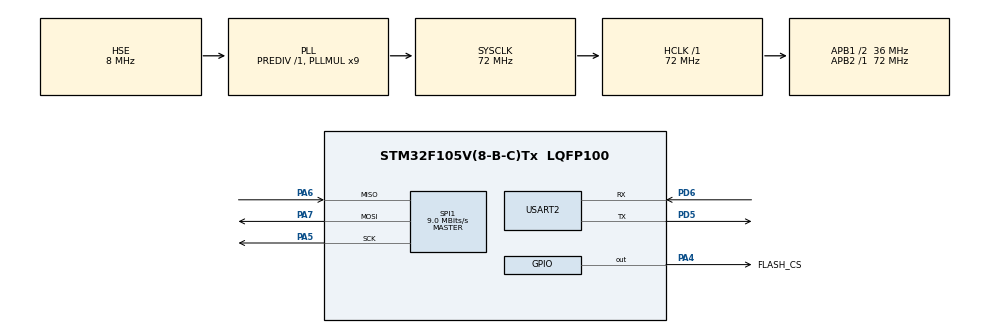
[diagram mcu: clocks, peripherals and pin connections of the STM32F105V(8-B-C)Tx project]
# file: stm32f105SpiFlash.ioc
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Mcu.Family=STM32F1
Mcu.Name=STM32F105V(8-B-C)Tx
Mcu.Package=LQFP100
NVIC.PriorityGroup=NVIC_PRIORITYGROUP_4
OSC_IN.Mode=HSE-External-Oscillator
OSC_IN.Signal=RCC_OSC_IN
OSC_OUT.Mode=HSE-External-Oscillator
OSC_OUT.Signal=RCC_OSC_OUT
PA13.Mode=Serial_Wire
PA13.Signal=SYS_JTMS-SWDIO
PA14.Mode=Serial_Wire
PA14.Signal=SYS_JTCK-SWCLK
PA4.GPIO_Label=FLASH_CS
PA4.Signal=GPIO_Output
PA5.Mode=Full_Duplex_Master
PA5.Signal=SPI1_SCK
PA6.Mode=Full_Duplex_Master
PA6.Signal=SPI1_MISO
PA7.Mode=Full_Duplex_Master
PA7.Signal=SPI1_MOSI
PC14-OSC32_IN.Mode=LSE-External-Oscillator
PC14-OSC32_IN.Signal=RCC_OSC32_IN
PC15-OSC32_OUT.Mode=LSE-External-Oscillator
PC15-OSC32_OUT.Signal=RCC_OSC32_OUT
PD5.Mode=Asynchronous
PD5.Signal=USART2_TX
PD6.Mode=Asynchronous
PD6.Signal=USART2_RX
ProjectManager.HeapSize=0x200
ProjectManager.StackSize=0x400
ProjectManager.TargetToolchain=STM32CubeIDE
RCC.AHBFreq_Value=72000000
RCC.APB1CLKDivider=RCC_HCLK_DIV2
RCC.APB1Freq_Value=36000000
RCC.APB1TimFreq_Value=72000000
RCC.APB2Freq_Value=72000000
RCC.APB2TimFreq_Value=72000000
RCC.HCLKFreq_Value=72000000
RCC.PLLMUL=RCC_PLL_MUL9
RCC.PLLSourceVirtual=RCC_PLLSOURCE_HSE
RCC.SYSCLKFreq_VALUE=72000000
RCC.SYSCLKSource=RCC_SYSCLKSOURCE_PLLCLK
RCC.USBFreq_Value=48000000
SPI1.BaudRatePrescaler=SPI_BAUDRATEPRESCALER_8
SPI1.CalculateBaudRate=9.0 MBits/s
SPI1.Direction=SPI_DIRECTION_2LINES
SPI1.Mode=SPI_MODE_MASTER
SPI1.VirtualType=VM_MASTER
USART2.VirtualMode=VM_ASYNC
board=custom

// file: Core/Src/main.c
/* USER CODE BEGIN Header */
/**
  ******************************************************************************
  * @file           : main.c
  * @brief          : Main program body
  ******************************************************************************
  * @attention
  *
  * Copyright (c) 2023 STMicroelectronics.
  * All rights reserved.
  *
  * This software is licensed under terms that can be found in the LICENSE file
  * in the root directory of this software component.
  * If no LICENSE file comes with this software, it is provided AS-IS.
  *
  ******************************************************************************
  */
/* USER CODE END Header */
#include "main.h"

/* USER CODE BEGIN Includes */
#include "w25qxx.h"
#include "string.h"
#include <stdio.h>
#include <stdarg.h>
/* USER CODE END Includes */

SPI_HandleTypeDef hspi1;

UART_HandleTypeDef huart2;

/* USER CODE BEGIN PV */
uint8_t buffer1[600] = "CiMIoIWuoAYQobqL54SKxQEYAyAAKAAyDAgAEAAYACAAKBowABIhCO/dlY3A/////wEVvBwkQh0RE+RBJQAAAAAtZmbGQDAAIhcwMCwwMCwwMCwwMCwwMCwwMCwwMCwwMCoXNDYsMDIsRkYsRkYsMDAsMDAsMDAsNjgyFzAwLDAwLEYwLDAwLDFELDAwLEIwLDY4OhcwNCw0MSwzMSwwQSwxRixBQSxBQSxBQUIXMDMsRDcsMzUsN0YsM0YsRUYsMDAsMDBaFzAwLDAwLDdELDAwLDAwLDNGLDIwLEY32gEGMC42LjEy5QEAAAAA6QEAAAAAAAAAAPEBundpPJW0sUCFAgAAAACKAgCSAiMaIQ17H/wu6jwiwBVkZlCPZAxVwB2ZkZxvEQ3APyAAKAAwAA==\r\n";
uint8_t buffer2[4100]= {0};
uint8_t buffer3[4100] = {0};
uint8_t buffer4[4100]= {0};
uint8_t buffer5[4100] = {0};
uint8_t buffer6[4100]= {0};
uint8_t buffer7[4100]= {0};
/*
typedef struct{
	uint32_t dataCount;
	uint32_t writtenDataByte;
	uint32_t writeOffset;
	uint32_t readData;
	//uint8_t readOffset;
	//uint32_t pageCount;
	uint16_t LastDataSize;
	uint32_t bufferCount;
	uint32_t bufferCountStore;
	uint32_t sectorNumber;
	//uint8_t pageBuffer[256];
}flashSpi_t;*/
extern flashSpi_t spistruct;
/* USER CODE END PV */

void SystemClock_Config(void);
static void MX_GPIO_Init(void);
static void MX_SPI1_Init(void);
static void MX_USART2_UART_Init(void);
/* USER CODE BEGIN PFP */
void printmsg(char *format,...);
/* USER CODE END PFP */

int main(void)
{

  /* MCU Configuration--------------------------------------------------------*/

  /* Reset of all peripherals, Initializes the Flash interface and the Systick. */
  HAL_Init();

  /* Configure the system clock */
  SystemClock_Config();

  /* Initialize all configured peripherals */
  MX_GPIO_Init();
  MX_SPI1_Init();
  MX_USART2_UART_Init();
  /* USER CODE BEGIN 2 */

  W25qxx_Init();
  //W25qxx_EraseSector(0);
  //W25qxx_EraseSector(1);
  //W25qxx_EraseSector(2);
  //W25qxx_EraseSector(3);
  //W25qxx_EraseSector(4);
  //W25qxx_EraseSector(5);
  //W25qxx_EraseSector(6);
  //spistruct.dataCount = 410;
  //spistruct.readData = 0;
  //spistruct.readOffset = 0;
  spistruct.writeOffset = 0;
  spistruct.sectorNumberforWrite = 0;
  spistruct.writtenDataByte = 0;
  spistruct.readDataByte = 0;
  spistruct.readOffset = 0;
  spistruct.sectorNumberforRead = 0;
  spistruct.allDataRead = 0;
  //spistruct.bufferCount = 0;
  //spistruct.pageCount = spistruct.dataSize / 256;
  //spistruct.endPageDataSize = spistruct.dataSize % 256;
//for (int i = 0; i<40000;i++){
	/*
	W25qxx_WriteSector(buffer1,spistruct.sectorNumber,spistruct.writeOffset,spistruct.dataCount);
	spistruct.writeOffset = spistruct.writeOffset + spistruct.dataCount;
	if(spistruct.writeOffset >= 4096){
		spistruct.sectorNumber++;
		spistruct.bufferCountTemp = spistruct.dataCount;
		spistruct.dataCount = ((spistruct.writeOffset)-4096);
		spistruct.writeOffset = 0;
		uint8_t temproryBuffer[spistruct.dataCount];
		memcpy(temproryBuffer,&buffer1[spistruct.bufferCountTemp-spistruct.dataCount],spistruct.dataCount*sizeof(uint8_t));
		W25qxx_WriteSector(temproryBuffer,spistruct.sectorNumber,spistruct.writeOffset,spistruct.dataCount);
		spistruct.writeOffset = spistruct.writeOffset + spistruct.dataCount;
		spistruct.dataCount = spistruct.bufferCountTemp ; // temporary
	}

	spistruct.LastDataSize = spistruct.dataCount ;
	spistruct.writtenDataByte = spistruct.dataCount + spistruct.writtenDataByte;
	*/
//	W25qxx_Write(buffer1, 410);
//}

W25qxx_ReadSector(buffer2, 0, 0, 4096);
W25qxx_ReadSector(buffer3, 1, 0, 4096);
W25qxx_ReadSector(buffer4, 2, 0, 4096);
W25qxx_ReadSector(buffer5, 3, 0, 4096);
W25qxx_ReadSector(buffer6, 4, 0, 4096);
W25qxx_ReadSector(buffer7, 5, 0, 4096);

for (uint32_t i = 0;i<60000;i++){
	/*
	uint8_t buffer[1024],*ret = 0;
	uint32_t findWord = 0;
	uint16_t sendBufferOffset = 0;
	W25qxx_ReadSector(buffer, spistruct.sectorNumberforRead, spistruct.readOffset, 1024);
	ret = strstr(buffer,"\r\n");
	if(ret == 0 && 4096-spistruct.readOffset > 1024){
		printmsg("%d--> data yok \r\n",i,spistruct.sendBuffer);
		spistruct.allDataRead = 1;
		spistruct.sectorNumberforRead = 0;
		spistruct.readOffset = 0;
		spistruct.sectorNumberforWrite = 0;
		spistruct.writeOffset = 0;
		break;
	}
	if(ret == 0){
		memcpy(&spistruct.sendBuffer[sendBufferOffset],&buffer,(4096-spistruct.readOffset));
		sendBufferOffset = 4096-spistruct.readOffset;
		spistruct.sectorNumberforRead++;
		spistruct.readOffset = 0;
		W25qxx_ReadSector(buffer, spistruct.sectorNumberforRead, spistruct.readOffset, 1024);
		ret = strstr(buffer,"\r\n");
		findWord = ret - buffer + 2;
		memcpy(&spistruct.sendBuffer[sendBufferOffset],&buffer,findWord*sizeof(uint8_t));
		spistruct.readOffset = findWord + spistruct.readOffset;

	}else{
		findWord = ret - buffer + 2;
		memcpy(spistruct.sendBuffer,&buffer,findWord*sizeof(uint8_t));
		spistruct.readOffset = findWord + spistruct.readOffset;
	}
	printmsg("%d-->%s\r\n",i,spistruct.sendBuffer);
	memset(spistruct.sendBuffer,0,sizeof(spistruct.sendBuffer));
	memset(buffer , 0 , sizeof(buffer));*/
	W25qxx_Read(i);

}

W25qxx_ReadSector(buffer2, 0, 0, 4096);
W25qxx_ReadSector(buffer3, 1, 0, 4096);
W25qxx_ReadSector(buffer4, 2, 0, 4096);
W25qxx_ReadSector(buffer5, 3, 0, 4096);
W25qxx_ReadSector(buffer6, 4, 0, 4096);
W25qxx_ReadSector(buffer7, 5, 0, 4096);
  /* USER CODE END 2 */

  /* Infinite loop */
  while (1)
  {

  }
}

void SystemClock_Config(void)
{
  RCC_OscInitTypeDef RCC_OscInitStruct = {0};
  RCC_ClkInitTypeDef RCC_ClkInitStruct = {0};

  /** Initializes the RCC Oscillators according to the specified parameters
  * in the RCC_OscInitTypeDef structure.
  */
  RCC_OscInitStruct.OscillatorType = RCC_OSCILLATORTYPE_HSE;
  RCC_OscInitStruct.HSEState = RCC_HSE_ON;
  RCC_OscInitStruct.HSEPredivValue = RCC_HSE_PREDIV_DIV1;
  RCC_OscInitStruct.HSIState = RCC_HSI_ON;
  RCC_OscInitStruct.Prediv1Source = RCC_PREDIV1_SOURCE_HSE;
  RCC_OscInitStruct.PLL.PLLState = RCC_PLL_ON;
  RCC_OscInitStruct.PLL.PLLSource = RCC_PLLSOURCE_HSE;
  RCC_OscInitStruct.PLL.PLLMUL = RCC_PLL_MUL9;
  RCC_OscInitStruct.PLL2.PLL2State = RCC_PLL_NONE;
  if (HAL_RCC_OscConfig(&RCC_OscInitStruct) != HAL_OK)
  {
    Error_Handler();
  }

  /** Initializes the CPU, AHB and APB buses clocks
  */
  RCC_ClkInitStruct.ClockType = RCC_CLOCKTYPE_HCLK|RCC_CLOCKTYPE_SYSCLK
                              |RCC_CLOCKTYPE_PCLK1|RCC_CLOCKTYPE_PCLK2;
  RCC_ClkInitStruct.SYSCLKSource = RCC_SYSCLKSOURCE_PLLCLK;
  RCC_ClkInitStruct.AHBCLKDivider = RCC_SYSCLK_DIV1;
  RCC_ClkInitStruct.APB1CLKDivider = RCC_HCLK_DIV2;
  RCC_ClkInitStruct.APB2CLKDivider = RCC_HCLK_DIV1;

  if (HAL_RCC_ClockConfig(&RCC_ClkInitStruct, FLASH_LATENCY_2) != HAL_OK)
  {
    Error_Handler();
  }

  /** Configure the Systick interrupt time
  */
  __HAL_RCC_PLLI2S_ENABLE();
}

static void MX_SPI1_Init(void)
{

  /* SPI1 parameter configuration*/
  hspi1.Instance = SPI1;
  hspi1.Init.Mode = SPI_MODE_MASTER;
  hspi1.Init.Direction = SPI_DIRECTION_2LINES;
  hspi1.Init.DataSize = SPI_DATASIZE_8BIT;
  hspi1.Init.CLKPolarity = SPI_POLARITY_LOW;
  hspi1.Init.CLKPhase = SPI_PHASE_1EDGE;
  hspi1.Init.NSS = SPI_NSS_SOFT;
  hspi1.Init.BaudRatePrescaler = SPI_BAUDRATEPRESCALER_8;
  hspi1.Init.FirstBit = SPI_FIRSTBIT_MSB;
  hspi1.Init.TIMode = SPI_TIMODE_DISABLE;
  hspi1.Init.CRCCalculation = SPI_CRCCALCULATION_DISABLE;
  hspi1.Init.CRCPolynomial = 10;
  if (HAL_SPI_Init(&hspi1) != HAL_OK)
  {
    Error_Handler();
  }

}

static void MX_USART2_UART_Init(void)
{

  huart2.Instance = USART2;
  huart2.Init.BaudRate = 115200;
  huart2.Init.WordLength = UART_WORDLENGTH_8B;
  huart2.Init.StopBits = UART_STOPBITS_1;
  huart2.Init.Parity = UART_PARITY_NONE;
  huart2.Init.Mode = UART_MODE_TX_RX;
  huart2.Init.HwFlowCtl = UART_HWCONTROL_NONE;
  huart2.Init.OverSampling = UART_OVERSAMPLING_16;
  if (HAL_UART_Init(&huart2) != HAL_OK)
  {
    Error_Handler();
  }

}

static void MX_GPIO_Init(void)
{
  GPIO_InitTypeDef GPIO_InitStruct = {0};

  /* GPIO Ports Clock Enable */
  __HAL_RCC_GPIOC_CLK_ENABLE();
  __HAL_RCC_GPIOA_CLK_ENABLE();
  __HAL_RCC_GPIOD_CLK_ENABLE();

  /*Configure GPIO pin Output Level */
  HAL_GPIO_WritePin(FLASH_CS_GPIO_Port, FLASH_CS_Pin, GPIO_PIN_RESET);

  /*Configure GPIO pin : FLASH_CS_Pin */
  GPIO_InitStruct.Pin = FLASH_CS_Pin;
  GPIO_InitStruct.Mode = GPIO_MODE_OUTPUT_PP;
  GPIO_InitStruct.Pull = GPIO_NOPULL;
  GPIO_InitStruct.Speed = GPIO_SPEED_FREQ_LOW;
  HAL_GPIO_Init(FLASH_CS_GPIO_Port, &GPIO_InitStruct);

}

/* USER CODE BEGIN 4 */
void printmsg(char *format,...)
{
	char str[1024];

	/*Extract the the argument list using VA apis */
	va_list args;
	va_start(args, format);
	vsprintf(str, format,args);
	HAL_UART_Transmit(&huart2,(uint8_t *)str, strlen(str),HAL_MAX_DELAY);
	va_end(args);

}

/* USER CODE END 4 */

void Error_Handler(void)
{
  __disable_irq();
  while (1)
  {
  }
}
